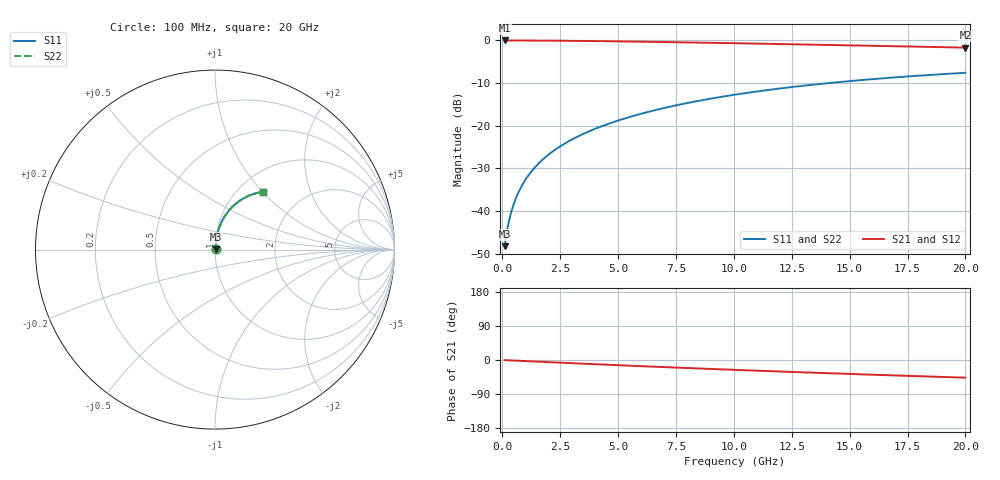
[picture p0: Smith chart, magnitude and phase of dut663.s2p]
! Touchstone file exported from HFSS 2024.1.0
!  File:  C:/UserFiles/LocalFiles/RDL_TSV_Batchsim/temp_RDL_top_663_1779781804.aedt
!  Generated:  03:52:06 PM May 26, 2026
!  Design:  RDL_top
!  Project:  temp_RDL_top_663_1779781804
!  Setup:  Setup1
!  Solution:  Sweep
! Variables:
!  dtsv = 10.80580581um
!  hbump = 3um
!  htsv = 68.98um
!  ldown = 100um
!  lrdl = 679.73um
!  p = 40
!  p1 = 47.54um
!  rhole = 1um
!  t = 450um
!  tdown = 3.915915916um
!  trdl = 4.59um
!  wdown = 15.38538539um
!  wrdl = 18.36um
# GHz S MA R 50.000000
! Terminal data exported
! Port[1] = Box2_T1
! Port[2] = Box2_T2
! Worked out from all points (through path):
!   200 points, 100 MHz to 20 GHz, reference 50 ohm
!   highest |S21| = -0.03 dB at 100 MHz (marker M1); lowest = -1.7 dB at 20 GHz (marker M2)
!   group delay of S21, straight-line fit = 6.44 ps
!   lowest |S11| = -48.2 dB at 100 MHz (marker M3), VSWR 1.01, Z = 50.3 + j0.249 ohm
!   |S11| at or under -10 dB: start of sweep to 14.12 GHz
!   |S22| runs from -48.2 to -7.6 dB; largest |S21 - S12| = 9.2e-15
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0.1  0.003878 39.6  0.997 -0.3  0.997 -0.3  0.003878 39.6
! Gamma 0 0 0 0
! Port Impedance 50 0 50 0
0.2  0.005785 57.1  0.9968 -0.6  0.9968 -0.6  0.005785 57.1
0.3  0.007888 65.2  0.9967 -0.9  0.9967 -0.9  0.007888 65.2
0.4  0.01004 69.9  0.9965 -1.2  0.9965 -1.2  0.01004 69.9
0.5  0.01221 73.0  0.9963 -1.4  0.9963 -1.4  0.01221 73.0
0.6  0.0144 75.1  0.9961 -1.7  0.9961 -1.7  0.0144 75.1
0.8  0.01883 77.9  0.9958 -2.3  0.9958 -2.3  0.01883 77.9
1.1  0.02555 80.2  0.9951 -3.1  0.9951 -3.1  0.02555 80.2
1.5  0.03458 81.6  0.994 -4.3  0.994 -4.3  0.03459 81.6
1.8  0.04139 82.0  0.9929 -5.1  0.9929 -5.1  0.0414 82.0
2.1  0.04822 82.2  0.9917 -5.9  0.9917 -5.9  0.04823 82.2
2.7  0.06193 82.1  0.9888 -7.6  0.9888 -7.6  0.06194 82.2
3.5  0.08029 81.5  0.984 -9.8  0.984 -9.8  0.08031 81.6
4.2  0.09643 80.7  0.9792 -11.6  0.9792 -11.6  0.09646 80.8
5  0.115 79.6  0.9731 -13.7  0.9731 -13.7  0.115 79.7
6.8  0.1568 76.7  0.9574 -18.3  0.9574 -18.3  0.1569 76.7
8.4  0.1937 73.7  0.9421 -22.2  0.9421 -22.2  0.1939 73.7
10.1  0.2321 70.3  0.925 -26.2  0.925 -26.2  0.2323 70.3
11.7  0.2669 66.9  0.9085 -29.8  0.9085 -29.8  0.2672 67.0
13.4  0.302 63.4  0.8906 -33.5  0.8906 -33.5  0.3023 63.5
16.7  0.3638 56.7  0.8559 -40.3  0.8559 -40.3  0.3642 56.8
20  0.4166 50.4  0.822 -46.6  0.822 -46.6  0.4172 50.5
